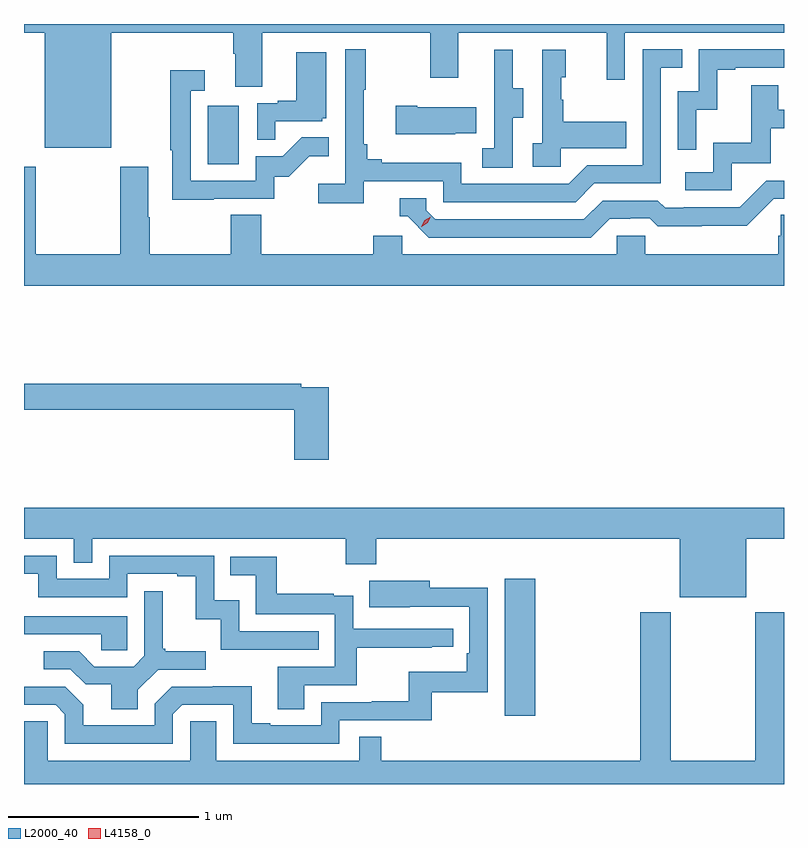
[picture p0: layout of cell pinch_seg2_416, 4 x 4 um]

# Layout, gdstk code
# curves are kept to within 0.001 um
import gdstk
lib = gdstk.Library(unit=1e-6, precision=1e-09)
def R(c, l, rs):  # rectangles x0, y0, x1, y1
    for r in rs: c.add(gdstk.rectangle(r[:2], r[2:], *l))
def P(c, l, *ps):  # polygons
    for p in ps: c.add(gdstk.Polygon(p, *l))
L2000_40 = (2000, 40)
L4158_0 = (4158, 0)

pinch_seg2_416 = lib.new_cell('pinch_seg2_416')
R(pinch_seg2_416, L2000_40, [(925.457,602.748,925.618,603.469), (923.894,605.652,924.058,605.959)])
P(pinch_seg2_416, L2000_40, [(922.928,606.344),(923.036,606.344),(923.036,605.738),(923.386,605.738),(923.386,606.344),(924.029,606.344),(924.029,606.232),(924.041,606.232),(924.041,606.058),(924.181,606.058),(924.181,606.344),(925.066,606.344),(925.066,606.105),(925.213,606.105),(925.213,606.344),(925.994,606.344),(925.994,606.096),(926.091,606.096),(926.091,606.344),(926.928,606.344),(926.928,606.389),(922.928,606.389)],
  [(924.716,605.562),(925.134,605.562),(925.134,605.451),(925.831,605.451),(925.93,605.55),(926.28,605.55),(926.28,606.159),(926.393,606.159),(926.393,606.255),(926.184,606.255),(926.184,605.646),(925.893,605.646),(925.794,605.547),(925.23,605.547),(925.23,605.659),(924.811,605.659),(924.811,605.678),(924.734,605.678),(924.734,605.755),(924.715,605.755),(924.715,606.043),(924.727,606.043),(924.727,606.256),(924.618,606.256),(924.618,605.548),(924.477,605.548),(924.477,605.446),(924.716,605.446)],
  [(926.466,605.939),(926.576,605.939),(926.576,606.147),(926.671,606.147),(926.671,606.159),(926.928,606.159),(926.928,606.255),(926.478,606.255),(926.478,606.036),(926.37,606.036),(926.37,605.727),(926.466,605.727)],
  [(925.5,605.896),(925.555,605.896),(925.555,606.051),(925.501,606.051),(925.501,606.253),(925.403,606.253),(925.403,606.039),(925.404,606.039),(925.404,605.735),(925.341,605.735),(925.341,605.632),(925.5,605.632)],
  [(925.752,605.735),(926.099,605.735),(926.099,605.875),(925.765,605.875),(925.765,605.99),(925.755,605.99),(925.755,606.108),(925.78,606.108),(925.78,606.253),(925.656,606.253),(925.656,605.762),(925.605,605.762),(925.605,605.637),(925.752,605.637)],
  [(924.251,605.877),(924.498,605.877),(924.498,605.892),(924.52,605.892),(924.52,606.241),(924.362,606.241),(924.362,605.986),(924.263,605.986),(924.263,605.973),(924.156,605.973),(924.156,605.779),(924.251,605.779)],
  [(923.927,605.469),(924.246,605.469),(924.246,605.586),(924.322,605.586),(924.429,605.693),(924.533,605.693),(924.533,605.792),(924.389,605.792),(924.291,605.694),(924.147,605.694),(924.147,605.565),(923.805,605.565),(923.805,606.039),(923.878,606.039),(923.878,606.145),(923.697,606.145),(923.697,605.725),(923.709,605.725),(923.709,605.464),(923.927,605.464)],
  [(926.652,605.655),(926.857,605.655),(926.857,605.841),(926.928,605.841),(926.928,605.937),(926.899,605.937),(926.899,606.067),(926.755,606.067),(926.755,605.764),(926.556,605.764),(926.556,605.61),(926.409,605.61),(926.409,605.514),(926.652,605.514)],
  [(925.199,605.813),(925.307,605.813),(925.307,605.95),(924.997,605.95),(924.997,605.958),(924.885,605.958),(924.885,605.81),(925.199,605.81)],
  [(926.928,605.384),(926.911,605.384),(926.911,605.274),(926.897,605.274),(926.897,605.176),(926.199,605.176),(926.199,605.274),(926.049,605.274),(926.049,605.176),(924.918,605.176),(924.918,605.274),(924.767,605.274),(924.767,605.176),(924.176,605.176),(924.176,605.384),(924.016,605.384),(924.016,605.176),(923.589,605.176),(923.589,605.372),(923.581,605.372),(923.581,605.638),(923.434,605.638),(923.434,605.176),(922.989,605.176),(922.989,605.638),(922.928,605.638),(922.928,605.012),(926.928,605.012)],
  [(926.011,605.364),(926.118,605.364),(926.118,605.367),(926.221,605.367),(926.263,605.325),(926.496,605.325),(926.496,605.327),(926.732,605.327),(926.874,605.469),(926.928,605.469),(926.928,605.565),(926.835,605.565),(926.694,605.424),(926.401,605.424),(926.401,605.421),(926.302,605.421),(926.263,605.46),(925.974,605.46),(925.875,605.361),(925.092,605.361),(925.044,605.409),(925.044,605.472),(924.905,605.472),(924.905,605.376),(924.948,605.376),(925.059,605.265),(925.912,605.265)],
  [(924.533,604.476),(924.386,604.476),(924.386,604.496),(922.928,604.496),(922.928,604.36),(924.35,604.36),(924.35,604.095),(924.533,604.095)],
  [(922.928,603.68),(923.19,603.68),(923.19,603.553),(923.286,603.553),(923.286,603.68),(924.622,603.68),(924.622,603.545),(924.782,603.545),(924.782,603.68),(926.378,603.68),(926.378,603.371),(926.728,603.371),(926.728,603.68),(926.928,603.68),(926.928,603.844),(922.928,603.844)],
  [(924.479,603.192),(924.06,603.192),(924.06,603.355),(923.928,603.355),(923.928,603.591),(923.376,603.591),(923.376,603.468),(923.1,603.468),(923.1,603.591),(922.928,603.591),(922.928,603.495),(923.004,603.495),(923.004,603.372),(923.472,603.372),(923.472,603.495),(923.735,603.495),(923.735,603.483),(923.831,603.483),(923.831,603.257),(923.964,603.257),(923.964,603.096),(924.479,603.096)],
  [(924.403,602.91),(924.68,602.91),(924.68,603.106),(925.073,603.106),(925.073,603.111),(925.186,603.111),(925.186,603.207),(924.66,603.207),(924.66,603.379),(924.557,603.379),(924.557,603.391),(924.259,603.391),(924.259,603.585),(924.013,603.585),(924.013,603.488),(924.148,603.488),(924.148,603.282),(924.564,603.282),(924.564,603.006),(924.263,603.006),(924.263,602.782),(924.403,602.782)],
  [(923.712,602.757),(923.76,602.805),(924.03,602.805),(924.03,602.601),(924.588,602.601),(924.588,602.724),(925.075,602.724),(925.075,602.871),(925.368,602.871),(925.368,603.422),(925.063,603.422),(925.063,603.46),(924.745,603.46),(924.745,603.32),(925.272,603.321),(925.272,603.076),(925.259,603.076),(925.259,602.98),(924.954,602.98),(924.954,602.825),(924.757,602.825),(924.757,602.82),(924.492,602.82),(924.492,602.697),(924.223,602.697),(924.223,602.71),(924.127,602.71),(924.127,602.903),(923.922,602.903),(923.922,602.901),(923.706,602.901),(923.616,602.811),(923.616,602.697),(923.239,602.697),(923.239,602.807),(923.145,602.901),(922.928,602.901),(922.928,602.805),(923.094,602.805),(923.142,602.757),(923.142,602.601),(923.712,602.601)],
  [(923.527,602.884),(923.634,602.991),(923.884,602.991),(923.884,603.088),(923.671,603.088),(923.671,603.1),(923.659,603.1),(923.659,603.403),(923.562,603.403),(923.562,603.063),(923.505,603.006),(923.299,603.006),(923.218,603.087),(923.031,603.087),(923.031,602.994),(923.172,602.994),(923.252,602.914),(923.387,602.914),(923.387,602.782),(923.527,602.782)],
  [(923.941,602.72),(923.802,602.72),(923.802,602.512),(923.052,602.512),(923.052,602.72),(922.928,602.72),(922.928,602.389),(926.928,602.389),(926.928,603.292),(926.776,603.292),(926.776,602.512),(926.331,602.512),(926.331,603.292),(926.171,603.292),(926.171,602.512),(924.809,602.512),(924.809,602.639),(924.693,602.639),(924.693,602.512),(923.941,602.512)],
  [(923.472,603.273),(922.928,603.273),(922.928,603.177),(923.335,603.177),(923.335,603.093),(923.472,603.093)])
P(pinch_seg2_416, L4158_0, [(925.02,605.323),(925.02,605.323),(925.037,605.356),(925.068,605.375),(925.068,605.375),(925.068,605.375),(925.052,605.342),(925.021,605.323)])

lib.write_gds('pinch_seg2_416.gds')
